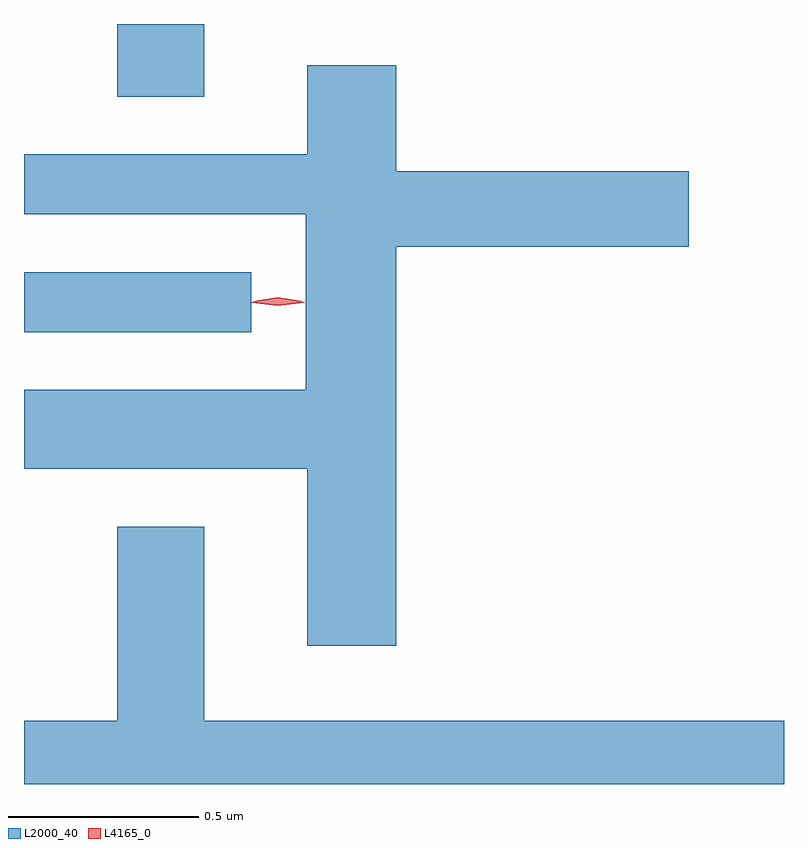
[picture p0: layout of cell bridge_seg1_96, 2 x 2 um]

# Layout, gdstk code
import gdstk
lib = gdstk.Library(unit=1e-6, precision=1e-09)
def R(c, l, rs):  # rectangles x0, y0, x1, y1
    for r in rs: c.add(gdstk.rectangle(r[:2], r[2:], *l))
def P(c, l, *ps):  # polygons
    for p in ps: c.add(gdstk.Polygon(p, *l))
L2000_40 = (2000, 40)
L4165_0 = (4165, 0)

bridge_seg1_96 = lib.new_cell('bridge_seg1_96')
R(bridge_seg1_96, L2000_40, [(1213.145,889.766,1213.743,889.924), (1213.391,890.386,1213.619,890.577)])
P(bridge_seg1_96, L2000_40, [(1214.124,889.991),(1214.894,889.991),(1214.894,890.189),(1214.124,890.189),(1214.124,890.469),(1213.891,890.469),(1213.891,890.234),(1213.145,890.234),(1213.145,890.076),(1213.886,890.076),(1213.886,889.614),(1213.145,889.614),(1213.145,889.406),(1213.891,889.406),(1213.891,888.941),(1214.124,888.941)],
  [(1215.145,888.744),(1213.619,888.744),(1213.619,889.254),(1213.391,889.254),(1213.391,888.744),(1213.145,888.744),(1213.145,888.577),(1215.145,888.577)])
P(bridge_seg1_96, L4165_0, [(1213.813,889.835),(1213.744,889.844),(1213.744,889.845),(1213.744,889.845),(1213.813,889.855),(1213.882,889.845),(1213.883,889.845),(1213.882,889.844)],
  [(1213.813,889.838),(1213.748,889.847),(1213.747,889.847),(1213.748,889.848),(1213.813,889.858),(1213.879,889.848),(1213.879,889.848),(1213.879,889.847)])

lib.write_gds('bridge_seg1_96.gds')
